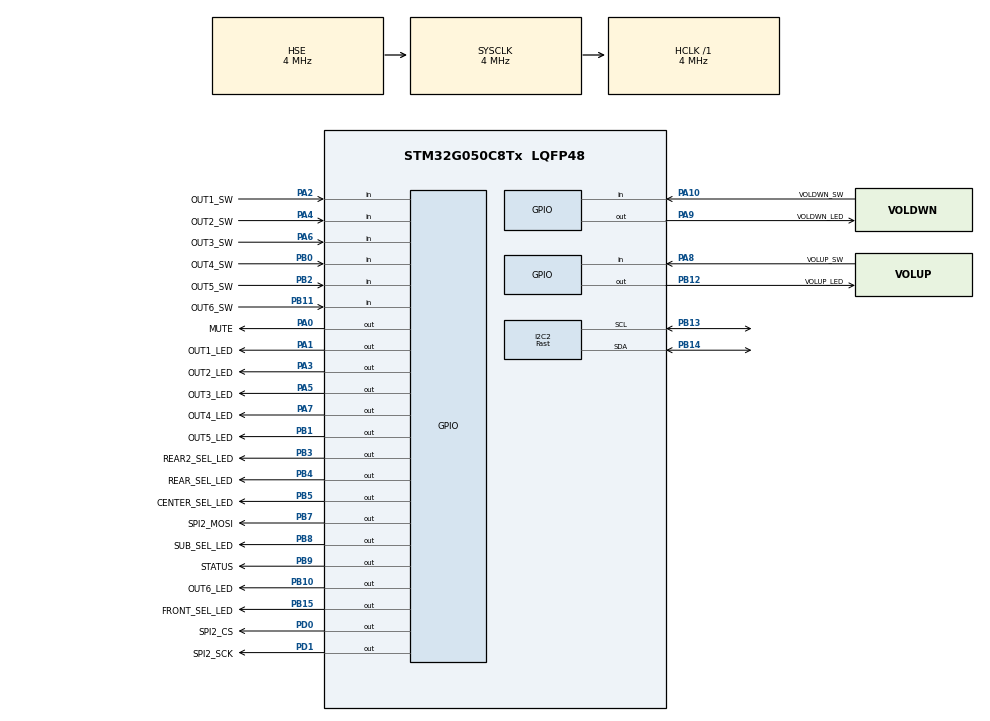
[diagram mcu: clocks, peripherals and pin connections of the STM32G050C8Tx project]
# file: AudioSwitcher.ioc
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I2C2.I2C_Speed_Mode=I2C_Fast
I2C2.Timing=0x00000003
Mcu.Family=STM32G0
Mcu.Name=STM32G050C8Tx
Mcu.Package=LQFP48
PA0.GPIO_Label=MUTE
PA0.PinState=GPIO_PIN_RESET
PA0.Signal=GPIO_Output
PA1.GPIO_Label=OUT1_LED
PA1.Signal=GPIO_Output
PA10.GPIO_Label=VOLDWN_SW
PA10.Signal=GPIO_Input
PA13.Mode=Serial_Wire
PA13.Signal=SYS_SWDIO
PA14-BOOT0.Mode=Serial_Wire
PA14-BOOT0.Signal=SYS_SWCLK
PA2.GPIO_Label=OUT1_SW
PA2.Signal=GPIO_Input
PA3.GPIO_Label=OUT2_LED
PA3.Signal=GPIO_Output
PA4.GPIO_Label=OUT2_SW
PA4.Signal=GPIO_Input
PA5.GPIO_Label=OUT3_LED
PA5.Signal=GPIO_Output
PA6.GPIO_Label=OUT3_SW
PA6.Signal=GPIO_Input
PA7.GPIO_Label=OUT4_LED
PA7.Signal=GPIO_Output
PA8.GPIO_Label=VOLUP_SW
PA8.Signal=GPIO_Input
PA9.GPIO_Label=VOLDWN_LED
PA9.Signal=GPIO_Output
PB0.GPIO_Label=OUT4_SW
PB0.Signal=GPIO_Input
PB1.GPIO_Label=OUT5_LED
PB1.Signal=GPIO_Output
PB10.GPIO_Label=OUT6_LED
PB10.Signal=GPIO_Output
PB11.GPIO_Label=OUT6_SW
PB11.Signal=GPIO_Input
PB12.GPIO_Label=VOLUP_LED
PB12.Signal=GPIO_Output
PB13.Mode=I2C
PB13.Signal=I2C2_SCL
PB14.Mode=I2C
PB14.Signal=I2C2_SDA
PB15.GPIO_Label=FRONT_SEL_LED
PB15.Signal=GPIO_Output
PB2.GPIO_Label=OUT5_SW
PB2.Signal=GPIO_Input
PB3.GPIO_Label=REAR2_SEL_LED
PB3.Signal=GPIO_Output
PB4.GPIO_Label=REAR_SEL_LED
PB4.Signal=GPIO_Output
PB5.GPIO_Label=CENTER_SEL_LED
PB5.Signal=GPIO_Output
PB7.GPIO_Label=SPI2_MOSI
PB7.Signal=GPIO_Output
PB8.GPIO_Label=SUB_SEL_LED
PB8.Signal=GPIO_Output
PB9.GPIO_Label=STATUS
PB9.PinState=GPIO_PIN_SET
PB9.Signal=GPIO_Output
PD0.GPIO_Label=SPI2_CS
PD0.PinState=GPIO_PIN_SET
PD0.Signal=GPIO_Output
PD1.GPIO_Label=SPI2_SCK
PD1.Signal=GPIO_Output
PF0-OSC_IN\ (PF0).Mode=HSE-External-Oscillator
PF0-OSC_IN\ (PF0).Signal=RCC_OSC_IN
PF1-OSC_OUT\ (PF1).Mode=HSE-External-Oscillator
PF1-OSC_OUT\ (PF1).Signal=RCC_OSC_OUT
ProjectManager.HeapSize=0x200
ProjectManager.StackSize=0x400
ProjectManager.TargetToolchain=STM32CubeIDE
RCC.ADCFreq_Value=4000000
RCC.AHBFreq_Value=4000000
RCC.CortexFreq_Value=4000000
RCC.EXTERNAL_CLOCK_VALUE=48000
RCC.HCLKFreq_Value=4000000
RCC.HSE_VALUE=4000000
RCC.HSI_VALUE=16000000
RCC.LSE_VALUE=32768
RCC.PLLSourceVirtual=RCC_PLLSOURCE_HSE
RCC.SYSCLKFreq_VALUE=4000000
RCC.SYSCLKSource=RCC_SYSCLKSOURCE_HSE
RCC.VCOOutputFreq_Value=32000000
VP_SYS_VS_DBSignals.Mode=DisableDeadBatterySignals
board=custom

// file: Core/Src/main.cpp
/* USER CODE BEGIN Header */
/**
  ******************************************************************************
  * @file           : main.c
  * @brief          : Main program body
  ******************************************************************************
  * @attention
  *
  * Copyright (c) 2024 STMicroelectronics.
  * All rights reserved.
  *
  * This software is licensed under terms that can be found in the LICENSE file
  * in the root directory of this software component.
  * If no LICENSE file comes with this software, it is provided AS-IS.
  *
  ******************************************************************************
  */
/* USER CODE END Header */
#include "main.h"

/* USER CODE BEGIN Includes */
#include "LM1972.h"
#include "MAX14661.h"
#include "outputControl.hpp"

/* USER CODE END Includes */

/* USER CODE BEGIN PD */

#define MAX14661_ADDRESS	0x4C		// 7-bit address
/* USER CODE END PD */

I2C_HandleTypeDef hi2c2;

/* USER CODE BEGIN PV */
LM1972*		volumeController;
MAX14661*	outputMUX;

Button	volUP_SW({VOLUP_SW_GPIO_Port, VOLUP_SW_Pin}, {VOLUP_LED_GPIO_Port, VOLUP_LED_Pin});
Button	volDWN_SW({VOLDWN_SW_GPIO_Port, VOLDWN_SW_Pin}, {VOLDWN_LED_GPIO_Port, VOLDWN_LED_Pin});
Button* output_SW[NUM_OF_OUTPUTS];
// Button	output6_SW({OUT6_SW_GPIO_Port, OUT6_SW_Pin}, {OUT6_LED_GPIO_Port, OUT6_LED_Pin});

Output* outputs[NUM_OF_OUTPUTS];//(outputMUX, {});
//Output* front;//(outputMUX, {});
//Output* rear;//(outputMUX, {});
//Output* center;//(outputMUX, {});
//Output* sub;//(outputMUX, {});
//Output* rear2;//();

OutputControl* outputControl[NUM_OF_OUTPUTS];
//OutputControl* frontControl;
//OutputControl* rearControl;
//OutputControl* centerControl;
//OutputControl* subControl;
//OutputControl* rear2Control;

uint8_t	outputStateFlag = 0;
uint64_t timeStamp = 0;
/* USER CODE END PV */

void SystemClock_Config(void);
static void MX_GPIO_Init(void);
static void MX_I2C2_Init(void);

int main(void)
{

  /* MCU Configuration--------------------------------------------------------*/

  /* Reset of all peripherals, Initializes the Flash interface and the Systick. */
  HAL_Init();

  /* Configure the system clock */
  SystemClock_Config();

  /* Initialize all configured peripherals */
  MX_GPIO_Init();
  MX_I2C2_Init();
  /* USER CODE BEGIN 2 */
//  volumeController = new LM1972(&hspi2, {SPI2_CS_GPIO_Port, SPI2_CS_Pin}, &volUP_SW, &volDWN_SW);
  volumeController = new LM1972({SPI2_MOSI_GPIO_Port,SPI2_MOSI_Pin}, {SPI2_SCK_GPIO_Port,SPI2_SCK_Pin}, {SPI2_CS_GPIO_Port, SPI2_CS_Pin}, &volUP_SW, &volDWN_SW);
  outputMUX = new MAX14661(&hi2c2, MAX14661_ADDRESS);

  output_SW[0] = new Button({OUT1_SW_GPIO_Port, OUT1_SW_Pin}, {OUT1_LED_GPIO_Port, OUT1_LED_Pin});		// Towers
  output_SW[1] = new Button({OUT2_SW_GPIO_Port, OUT2_SW_Pin}, {OUT2_LED_GPIO_Port, OUT2_LED_Pin});		// BookShelfs
  output_SW[2] = new Button({OUT3_SW_GPIO_Port, OUT3_SW_Pin}, {OUT3_LED_GPIO_Port, OUT3_LED_Pin});		// Center Channel Bookshelves and heights
  output_SW[3] = new Button({OUT4_SW_GPIO_Port, OUT4_SW_Pin}, {OUT4_LED_GPIO_Port, OUT4_LED_Pin});		// Add Subwoofer
  output_SW[4] = new Button({OUT5_SW_GPIO_Port, OUT5_SW_Pin}, {OUT5_LED_GPIO_Port, OUT5_LED_Pin});		// Everything

  outputs[0] = new Output(outputMUX, {SUB_SEL_LED_GPIO_Port, 	  SUB_SEL_LED_Pin}, 		8, 9);
  outputs[1] = new Output(outputMUX, {CENTER_SEL_LED_GPIO_Port, CENTER_SEL_LED_Pin}, 	11, 12);
  outputs[2] = new Output(outputMUX, {REAR2_SEL_LED_GPIO_Port, 	REAR2_SEL_LED_Pin}, 	7, 6);
  outputs[3] = new Output(outputMUX, {REAR_SEL_LED_GPIO_Port, 	REAR_SEL_LED_Pin}, 		4, 3);
  outputs[4] = new Output(outputMUX, {FRONT_SEL_LED_GPIO_Port, 	FRONT_SEL_LED_Pin}, 	1, 0);

  for(int i=0; i<NUM_OF_OUTPUTS; i++)
  {
	  outputControl[i] = new OutputControl(output_SW[i], outputs[i]);
  }

  /* USER CODE END 2 */

  /* Infinite loop */
  while (1)
  {

    /* USER CODE BEGIN 3 */
	  volumeController->processButtons();

	  for(int i=0; i<NUM_OF_OUTPUTS; i++)
	  {
		  outputControl[i]->process();
		  if(outputControl[i]->getState())
		  {
			  outputStateFlag |= (1<<i);
		  }
		  else
		  {
			  outputStateFlag &= ~(1<<i);
		  }
	  }

	  if(outputStateFlag)
	  {
		  if((HAL_GetTick() - timeStamp) > STATUS_LED_TOGGLE_PERIOD)
		  {
			  timeStamp = HAL_GetTick();
			  HAL_GPIO_TogglePin(STATUS_GPIO_Port, STATUS_Pin);
		  }
	  	  if(HAL_GPIO_ReadPin(MUTE_GPIO_Port, MUTE_Pin) != GPIO_PIN_SET)
	  	  {
	  		  HAL_GPIO_WritePin(MUTE_GPIO_Port, MUTE_Pin, GPIO_PIN_SET);
	  	  }
	  }
	  else
	  {
	  	  HAL_GPIO_WritePin(STATUS_GPIO_Port, STATUS_Pin, GPIO_PIN_SET);
	  	  HAL_GPIO_WritePin(MUTE_GPIO_Port, MUTE_Pin, GPIO_PIN_RESET);
	  }
  }
  /* USER CODE END 3 */
}

void SystemClock_Config(void)
{
  RCC_OscInitTypeDef RCC_OscInitStruct = {0};
  RCC_ClkInitTypeDef RCC_ClkInitStruct = {0};

  /** Configure the main internal regulator output voltage
  */
  HAL_PWREx_ControlVoltageScaling(PWR_REGULATOR_VOLTAGE_SCALE1);

  /** Initializes the RCC Oscillators according to the specified parameters
  * in the RCC_OscInitTypeDef structure.
  */
  RCC_OscInitStruct.OscillatorType = RCC_OSCILLATORTYPE_HSE;
  RCC_OscInitStruct.HSEState = RCC_HSE_ON;
  RCC_OscInitStruct.PLL.PLLState = RCC_PLL_NONE;
  if (HAL_RCC_OscConfig(&RCC_OscInitStruct) != HAL_OK)
  {
    Error_Handler();
  }

  /** Initializes the CPU, AHB and APB buses clocks
  */
  RCC_ClkInitStruct.ClockType = RCC_CLOCKTYPE_HCLK|RCC_CLOCKTYPE_SYSCLK
                              |RCC_CLOCKTYPE_PCLK1;
  RCC_ClkInitStruct.SYSCLKSource = RCC_SYSCLKSOURCE_HSE;
  RCC_ClkInitStruct.AHBCLKDivider = RCC_SYSCLK_DIV1;
  RCC_ClkInitStruct.APB1CLKDivider = RCC_HCLK_DIV1;

  if (HAL_RCC_ClockConfig(&RCC_ClkInitStruct, FLASH_LATENCY_0) != HAL_OK)
  {
    Error_Handler();
  }
}

static void MX_I2C2_Init(void)
{

  hi2c2.Instance = I2C2;
  hi2c2.Init.Timing = 0x00000003;
  hi2c2.Init.OwnAddress1 = 0;
  hi2c2.Init.AddressingMode = I2C_ADDRESSINGMODE_7BIT;
  hi2c2.Init.DualAddressMode = I2C_DUALADDRESS_DISABLE;
  hi2c2.Init.OwnAddress2 = 0;
  hi2c2.Init.OwnAddress2Masks = I2C_OA2_NOMASK;
  hi2c2.Init.GeneralCallMode = I2C_GENERALCALL_DISABLE;
  hi2c2.Init.NoStretchMode = I2C_NOSTRETCH_DISABLE;
  if (HAL_I2C_Init(&hi2c2) != HAL_OK)
  {
    Error_Handler();
  }

  /** Configure Analogue filter
  */
  if (HAL_I2CEx_ConfigAnalogFilter(&hi2c2, I2C_ANALOGFILTER_ENABLE) != HAL_OK)
  {
    Error_Handler();
  }

  /** Configure Digital filter
  */
  if (HAL_I2CEx_ConfigDigitalFilter(&hi2c2, 0) != HAL_OK)
  {
    Error_Handler();
  }

}

static void MX_GPIO_Init(void)
{
  GPIO_InitTypeDef GPIO_InitStruct = {0};

  /* GPIO Ports Clock Enable */
  __HAL_RCC_GPIOF_CLK_ENABLE();
  __HAL_RCC_GPIOA_CLK_ENABLE();
  __HAL_RCC_GPIOB_CLK_ENABLE();
  __HAL_RCC_GPIOD_CLK_ENABLE();

  /*Configure GPIO pin Output Level */
  HAL_GPIO_WritePin(GPIOA, MUTE_Pin|OUT1_LED_Pin|OUT2_LED_Pin|OUT3_LED_Pin
                          |OUT4_LED_Pin|VOLDWN_LED_Pin, GPIO_PIN_RESET);

  /*Configure GPIO pin Output Level */
  HAL_GPIO_WritePin(GPIOB, OUT5_LED_Pin|OUT6_LED_Pin|VOLUP_LED_Pin|FRONT_SEL_LED_Pin
                          |REAR2_SEL_LED_Pin|REAR_SEL_LED_Pin|CENTER_SEL_LED_Pin|SPI2_MOSI_Pin
                          |SUB_SEL_LED_Pin, GPIO_PIN_RESET);

  /*Configure GPIO pin Output Level */
  HAL_GPIO_WritePin(SPI2_CS_GPIO_Port, SPI2_CS_Pin, GPIO_PIN_SET);

  /*Configure GPIO pin Output Level */
  HAL_GPIO_WritePin(SPI2_SCK_GPIO_Port, SPI2_SCK_Pin, GPIO_PIN_RESET);

  /*Configure GPIO pin Output Level */
  HAL_GPIO_WritePin(STATUS_GPIO_Port, STATUS_Pin, GPIO_PIN_SET);

  /*Configure GPIO pins : MUTE_Pin OUT1_LED_Pin OUT2_LED_Pin OUT3_LED_Pin
                           OUT4_LED_Pin VOLDWN_LED_Pin */
  GPIO_InitStruct.Pin = MUTE_Pin|OUT1_LED_Pin|OUT2_LED_Pin|OUT3_LED_Pin
                          |OUT4_LED_Pin|VOLDWN_LED_Pin;
  GPIO_InitStruct.Mode = GPIO_MODE_OUTPUT_PP;
  GPIO_InitStruct.Pull = GPIO_NOPULL;
  GPIO_InitStruct.Speed = GPIO_SPEED_FREQ_LOW;
  HAL_GPIO_Init(GPIOA, &GPIO_InitStruct);

  /*Configure GPIO pins : OUT1_SW_Pin OUT2_SW_Pin OUT3_SW_Pin VOLUP_SW_Pin
                           VOLDWN_SW_Pin */
  GPIO_InitStruct.Pin = OUT1_SW_Pin|OUT2_SW_Pin|OUT3_SW_Pin|VOLUP_SW_Pin
                          |VOLDWN_SW_Pin;
  GPIO_InitStruct.Mode = GPIO_MODE_INPUT;
  GPIO_InitStruct.Pull = GPIO_NOPULL;
  HAL_GPIO_Init(GPIOA, &GPIO_InitStruct);

  /*Configure GPIO pins : OUT4_SW_Pin OUT5_SW_Pin OUT6_SW_Pin */
  GPIO_InitStruct.Pin = OUT4_SW_Pin|OUT5_SW_Pin|OUT6_SW_Pin;
  GPIO_InitStruct.Mode = GPIO_MODE_INPUT;
  GPIO_InitStruct.Pull = GPIO_NOPULL;
  HAL_GPIO_Init(GPIOB, &GPIO_InitStruct);

  /*Configure GPIO pins : OUT5_LED_Pin OUT6_LED_Pin VOLUP_LED_Pin FRONT_SEL_LED_Pin
                           REAR2_SEL_LED_Pin REAR_SEL_LED_Pin CENTER_SEL_LED_Pin SPI2_MOSI_Pin
                           SUB_SEL_LED_Pin STATUS_Pin */
  GPIO_InitStruct.Pin = OUT5_LED_Pin|OUT6_LED_Pin|VOLUP_LED_Pin|FRONT_SEL_LED_Pin
                          |REAR2_SEL_LED_Pin|REAR_SEL_LED_Pin|CENTER_SEL_LED_Pin|SPI2_MOSI_Pin
                          |SUB_SEL_LED_Pin|STATUS_Pin;
  GPIO_InitStruct.Mode = GPIO_MODE_OUTPUT_PP;
  GPIO_InitStruct.Pull = GPIO_NOPULL;
  GPIO_InitStruct.Speed = GPIO_SPEED_FREQ_LOW;
  HAL_GPIO_Init(GPIOB, &GPIO_InitStruct);

  /*Configure GPIO pins : SPI2_CS_Pin SPI2_SCK_Pin */
  GPIO_InitStruct.Pin = SPI2_CS_Pin|SPI2_SCK_Pin;
  GPIO_InitStruct.Mode = GPIO_MODE_OUTPUT_PP;
  GPIO_InitStruct.Pull = GPIO_NOPULL;
  GPIO_InitStruct.Speed = GPIO_SPEED_FREQ_LOW;
  HAL_GPIO_Init(GPIOD, &GPIO_InitStruct);

}

void Error_Handler(void)
{
  __disable_irq();
  while (1)
  {
  }
}
